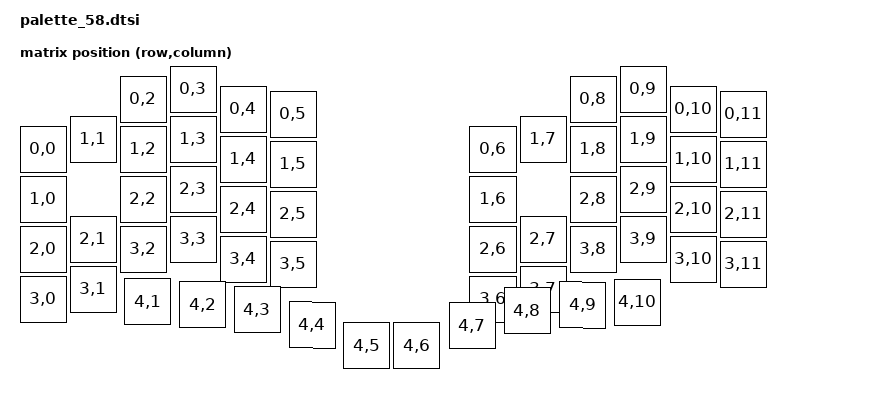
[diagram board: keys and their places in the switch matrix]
#include <dt-bindings/zmk/matrix_transform.h> // Put this with the other includes at the top of your dtsi
#include "palette_58-layouts.dtsi"

/ {
    kscan0: kscan0 {
        compatible = "zmk,kscan-gpio-matrix";
        diode-direction = "col2row";
        wakeup-source;
    };
};

/ {
    default_transform: default_transform {
        compatible = "zmk,matrix-transform";
        columns = <12>;
        rows = <5>;
        map = <
            RC(0,0) RC(0,1) RC(0,2) RC(0,3) RC(0,4) RC(0,5)               RC(0,6) RC(0,7) RC(0,8) RC(0,9) RC(0,10) RC(0,11)
            RC(1,0) RC(1,1) RC(1,2) RC(1,3) RC(1,4) RC(1,5)               RC(1,6) RC(1,7) RC(1,8) RC(1,9) RC(1,10) RC(1,11)
            RC(2,0) RC(2,1) RC(2,2) RC(2,3) RC(2,4) RC(2,5)               RC(2,6) RC(2,7) RC(2,8) RC(2,9) RC(2,10) RC(2,11)
            RC(3,0) RC(3,1) RC(3,2) RC(3,3) RC(3,4) RC(3,5)               RC(3,6) RC(3,7) RC(3,8) RC(3,9) RC(3,10) RC(3,11)
                        RC(4,1) RC(4,2) RC(4,3) RC(4,4) RC(4,5)      RC(4,6) RC(4,7) RC(4,8) RC(4,9) RC(4,10)
        >;
    };
};

&physical_layout0 {
    kscan = <&kscan0>;
    transform = <&default_transform>;

     keys  //                     w   h    x    y     rot    rx    ry
     // Row 0
            = <&key_physical_attrs 100 100    0  120       0     0     0>
            , <&key_physical_attrs 100 100  100  100       0     0     0>
            , <&key_physical_attrs 100 100  200   20       0     0     0>
            , <&key_physical_attrs 100 100  300    0       0     0     0>
            , <&key_physical_attrs 100 100  400   40       0     0     0>
            , <&key_physical_attrs 100 100  500   50       0     0     0>

            , <&key_physical_attrs 100 100  900  120       0     0     0>
            , <&key_physical_attrs 100 100 1000  100       0     0     0>
            , <&key_physical_attrs 100 100 1100   20       0     0     0>
            , <&key_physical_attrs 100 100 1200    0       0     0     0>
            , <&key_physical_attrs 100 100 1300   40       0     0     0>
            , <&key_physical_attrs 100 100 1400   50       0     0     0>
        // Row 1
            , <&key_physical_attrs 100 100    0  220       0     0     0>
            , <&key_physical_attrs 100 100  100  100       0     0     0>
            , <&key_physical_attrs 100 100  200  120       0     0     0>
            , <&key_physical_attrs 100 100  300  100       0     0     0>
            , <&key_physical_attrs 100 100  400  140       0     0     0>
            , <&key_physical_attrs 100 100  500  150       0     0     0>

            , <&key_physical_attrs 100 100  900  220       0     0     0>
            , <&key_physical_attrs 100 100 1000  100       0     0     0>
            , <&key_physical_attrs 100 100 1100  120       0     0     0>
            , <&key_physical_attrs 100 100 1200  100       0     0     0>
            , <&key_physical_attrs 100 100 1300  140       0     0     0>
            , <&key_physical_attrs 100 100 1400  150       0     0     0>
        // Row 2
            , <&key_physical_attrs 100 100    0  320       0     0     0>
            , <&key_physical_attrs 100 100  100  300       0     0     0>
            , <&key_physical_attrs 100 100  200  220       0     0     0>
            , <&key_physical_attrs 100 100  300  200       0     0     0>
            , <&key_physical_attrs 100 100  400  240       0     0     0>
            , <&key_physical_attrs 100 100  500  250       0     0     0>

            , <&key_physical_attrs 100 100  900  320       0     0     0>
            , <&key_physical_attrs 100 100 1000  300       0     0     0>
            , <&key_physical_attrs 100 100 1100  220       0     0     0>
            , <&key_physical_attrs 100 100 1200  200       0     0     0>
            , <&key_physical_attrs 100 100 1300  240       0     0     0>
            , <&key_physical_attrs 100 100 1400  250       0     0     0>
        // Row 3
            , <&key_physical_attrs 100 100    0  420       0     0     0>
            , <&key_physical_attrs 100 100  100  400       0     0     0>
            , <&key_physical_attrs 100 100  200  320       0     0     0>
            , <&key_physical_attrs 100 100  300  300       0     0     0>
            , <&key_physical_attrs 100 100  400  340       0     0     0>
            , <&key_physical_attrs 100 100  500  350       0     0     0>

            , <&key_physical_attrs 100 100  900  420       0     0     0>
            , <&key_physical_attrs 100 100 1000  400       0     0     0>
            , <&key_physical_attrs 100 100 1100  320       0     0     0>
            , <&key_physical_attrs 100 100 1200  300       0     0     0>
            , <&key_physical_attrs 100 100 1300  340       0     0     0>
            , <&key_physical_attrs 100 100 1400  350       0     0     0>
        // Thumb 
            , <&key_physical_attrs 100 100  210  425       5     0     0>
            , <&key_physical_attrs 100 100  320  430      10     0     0>
            , <&key_physical_attrs 100 100  430  440      15     0     0>
            , <&key_physical_attrs 100 100  540  470      20     0     0>
            , <&key_physical_attrs 100 100  650  510      25     0     0>

            , <&key_physical_attrs 100 100  750  510      25     0     0>
            , <&key_physical_attrs 100 100  860  470      20     0     0>
            , <&key_physical_attrs 100 100  970  440      15     0     0>
            , <&key_physical_attrs 100 100 1080  430      10     0     0>
            , <&key_physical_attrs 100 100 1190  425       5     0     0>
           ;
};

&pro_micro_i2c {
    status = "okay";

    oled: ssd1306@3c {
        compatible = "solomon,ssd1306fb";
        reg = <0x3c>;
        width = <128>;
        height = <32>;
        segment-offset = <0>;
        page-offset = <0>;
        display-offset = <0>;
        multiplex-ratio = <31>;
        segment-remap;
        com-invdir;
        com-sequential;
        inversion-on;
        prechargep = <0x22>;
    };
};

/ {
    chosen {
        zmk,physical-layout = &physical_layout0;
        zephyr,display = &oled;
    };
};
